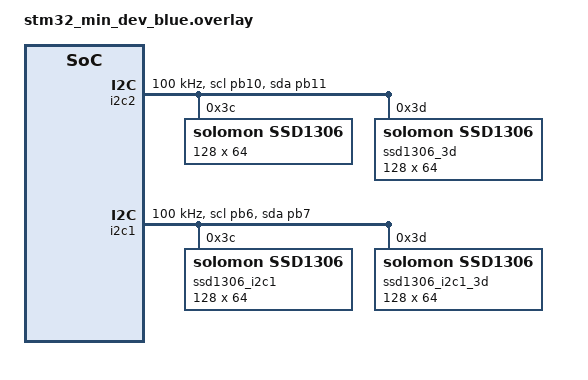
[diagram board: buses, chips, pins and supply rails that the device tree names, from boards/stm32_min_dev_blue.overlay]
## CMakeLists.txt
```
cmake_minimum_required(VERSION 3.20.0)
find_package(Zephyr REQUIRED HINTS $ENV{ZEPHYR_BASE})
project(test_oled)

target_sources(app PRIVATE src/main.c)
```

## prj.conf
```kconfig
# OLED Test Configuration
CONFIG_GPIO=y
CONFIG_I2C=y
CONFIG_PRINTK=y
CONFIG_LOG=y

# Display support - SIMPLE API ONLY
CONFIG_DISPLAY=y
CONFIG_SSD1306=y

# I2C settings
CONFIG_I2C_STM32=y
```

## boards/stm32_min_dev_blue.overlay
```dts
/*
 * OLED Test Overlay - I2C2 pe PB10/PB11
 * SSD1306 128x64 sau 128x32
 */

&i2c2 {
	status = "okay";
	pinctrl-0 = <&i2c2_scl_pb10 &i2c2_sda_pb11>;  /* Config corectă hardware */
	pinctrl-names = "default";
	clock-frequency = <I2C_BITRATE_STANDARD>;  /* 100kHz - mai stabil */
	
	ssd1306: ssd1306@3c {
		compatible = "solomon,ssd1306";
		reg = <0x3c>;  /* Înapoi la 0x3C, dar cu pini inversați */
		width = <128>;
		height = <64>;
		segment-offset = <0>;
		page-offset = <0>;
		display-offset = <0>;
		multiplex-ratio = <63>;
		segment-remap;
		com-invdir;
		prechargep = <0x22>;
	};

	ssd1306_3d: ssd1306@3d {
		compatible = "solomon,ssd1306";
		reg = <0x3d>;
		width = <128>;
		height = <64>;
		segment-offset = <0>;
		page-offset = <0>;
		display-offset = <0>;
		multiplex-ratio = <63>;
		segment-remap;
		com-invdir;
		prechargep = <0x22>;
	};
};

&usart3 {
	status = "disabled";
};

&i2c1 {
	status = "okay";
	pinctrl-0 = <&i2c1_scl_pb6 &i2c1_sda_pb7>;
	pinctrl-names = "default";
	clock-frequency = <I2C_BITRATE_STANDARD>;

	ssd1306_i2c1: ssd1306@3c {
		compatible = "solomon,ssd1306";
		reg = <0x3c>;
		width = <128>;
		height = <64>;
		segment-offset = <0>;
		page-offset = <0>;
		display-offset = <0>;
		multiplex-ratio = <63>;
		segment-remap;
		com-invdir;
		prechargep = <0x22>;
	};

	ssd1306_i2c1_3d: ssd1306@3d {
		compatible = "solomon,ssd1306";
		reg = <0x3d>;
		width = <128>;
		height = <64>;
		segment-offset = <0>;
		page-offset = <0>;
		display-offset = <0>;
		multiplex-ratio = <63>;
		segment-remap;
		com-invdir;
		prechargep = <0x22>;
	};
};
```

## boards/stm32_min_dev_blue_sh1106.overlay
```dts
/*
 * OLED Test Overlay (SH1106 variant) - I2C2 PB10/PB11
 * For 4-pin I2C modules that are 128x64 but not SSD1306-compatible.
 */

&i2c2 {
	status = "okay";
	pinctrl-0 = <&i2c2_scl_pb10 &i2c2_sda_pb11>;
	pinctrl-names = "default";
	clock-frequency = <I2C_BITRATE_STANDARD>;

	ssd1306: sh1106@3c {
		compatible = "sinowealth,sh1106";
		reg = <0x3c>;
		width = <128>;
		height = <64>;
		segment-offset = <0>;
		page-offset = <0>;
		display-offset = <0>;
		multiplex-ratio = <63>;
		segment-remap;
		com-invdir;
		prechargep = <0x22>;
	};

	ssd1306_3d: sh1106@3d {
		compatible = "sinowealth,sh1106";
		reg = <0x3d>;
		width = <128>;
		height = <64>;
		segment-offset = <0>;
		page-offset = <0>;
		display-offset = <0>;
		multiplex-ratio = <63>;
		segment-remap;
		com-invdir;
		prechargep = <0x22>;
	};
};

&usart3 {
	status = "disabled";
};

&i2c1 {
	status = "okay";
	pinctrl-0 = <&i2c1_scl_pb6 &i2c1_sda_pb7>;
	pinctrl-names = "default";
	clock-frequency = <I2C_BITRATE_STANDARD>;

	ssd1306_i2c1: sh1106@3c {
		compatible = "sinowealth,sh1106";
		reg = <0x3c>;
		width = <128>;
		height = <64>;
		segment-offset = <0>;
		page-offset = <0>;
		display-offset = <0>;
		multiplex-ratio = <63>;
		segment-remap;
		com-invdir;
		prechargep = <0x22>;
	};

	ssd1306_i2c1_3d: sh1106@3d {
		compatible = "sinowealth,sh1106";
		reg = <0x3d>;
		width = <128>;
		height = <64>;
		segment-offset = <0>;
		page-offset = <0>;
		display-offset = <0>;
		multiplex-ratio = <63>;
		segment-remap;
		com-invdir;
		prechargep = <0x22>;
	};
};
```

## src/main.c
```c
/*
 * OLED direct I2C test on PB10/PB11 (I2C2).
 * Tries both addresses (0x3C, 0x3D) and both controller init styles (SSD1306/SH1106).
 */
#include <zephyr/kernel.h>
#include <zephyr/drivers/gpio.h>
#include <zephyr/drivers/i2c.h>
#include <zephyr/device.h>
#include <zephyr/sys/printk.h>
#include <string.h>

static const struct gpio_dt_spec led = {
	.port = DEVICE_DT_GET(DT_NODELABEL(gpioc)),
	.pin = 13,
	.dt_flags = GPIO_ACTIVE_LOW
};

static const uint8_t oled_addrs[] = {0x3C, 0x3D};

static void blink_ms(int delay_ms)
{
	gpio_pin_toggle_dt(&led);
	k_msleep(delay_ms);
}

static int oled_cmd(const struct device *i2c, uint8_t addr, uint8_t cmd)
{
	uint8_t tx[2] = {0x00, cmd};
	return i2c_write(i2c, tx, sizeof(tx), addr);
}

static int oled_send_cmds(const struct device *i2c, uint8_t addr,
				  const uint8_t *cmds, size_t len)
{
	for (size_t i = 0; i < len; i++) {
		int ret = oled_cmd(i2c, addr, cmds[i]);
		if (ret) {
			return ret;
		}
	}
	return 0;
}

static int oled_init_ssd1306(const struct device *i2c, uint8_t addr)
{
	static const uint8_t seq[] = {
		0xAE, 0xD5, 0x80, 0xA8, 0x3F, 0xD3, 0x00, 0x40,
		0x8D, 0x14, 0x20, 0x02, 0xA1, 0xC8, 0xDA, 0x12,
		0x81, 0xCF, 0xD9, 0xF1, 0xDB, 0x40, 0xA4, 0xA6, 0xAF,
	};

	return oled_send_cmds(i2c, addr, seq, sizeof(seq));
}

static int oled_init_sh1106(const struct device *i2c, uint8_t addr)
{
	static const uint8_t seq[] = {
		0xAE, 0xD5, 0x80, 0xA8, 0x3F, 0xD3, 0x00, 0x40,
		0xAD, 0x8B, 0xA1, 0xC8, 0xDA, 0x12, 0x81, 0x80,
		0xD9, 0x22, 0xDB, 0x35, 0xA4, 0xA6, 0xAF,
	};

	return oled_send_cmds(i2c, addr, seq, sizeof(seq));
}

static int oled_fill(const struct device *i2c, uint8_t addr,
			   uint8_t pattern, uint8_t col_offset)
{
	uint8_t data[129];
	data[0] = 0x40;
	memset(&data[1], pattern, 128);

	for (uint8_t page = 0; page < 8; page++) {
		int ret;

		ret = oled_cmd(i2c, addr, 0xB0 + page);
		if (ret) {
			return ret;
		}

		ret = oled_cmd(i2c, addr, 0x00 + (col_offset & 0x0F));
		if (ret) {
			return ret;
		}

		ret = oled_cmd(i2c, addr, 0x10 + ((col_offset >> 4) & 0x0F));
		if (ret) {
			return ret;
		}

		ret = i2c_write(i2c, data, sizeof(data), addr);
		if (ret) {
			return ret;
		}
	}

	return 0;
}

static int oled_fill_checker(const struct device *i2c, uint8_t addr, uint8_t col_offset)
{
	uint8_t data[129];
	data[0] = 0x40;

	for (uint8_t page = 0; page < 8; page++) {
		int ret;
		uint8_t p = (page & 1U) ? 0xAA : 0x55;

		memset(&data[1], p, 128);

		ret = oled_cmd(i2c, addr, 0xB0 + page);
		if (ret) {
			return ret;
		}

		ret = oled_cmd(i2c, addr, 0x00 + (col_offset & 0x0F));
		if (ret) {
			return ret;
		}

		ret = oled_cmd(i2c, addr, 0x10 + ((col_offset >> 4) & 0x0F));
		if (ret) {
			return ret;
		}

		ret = i2c_write(i2c, data, sizeof(data), addr);
		if (ret) {
			return ret;
		}
	}

	return 0;
}

static int run_oled_cycle(const struct device *i2c, uint8_t addr, bool sh1106)
{
	uint8_t col_offset = sh1106 ? 2U : 0U;
	int ret;

	ret = oled_fill(i2c, addr, 0xFF, col_offset);
	if (ret) {
		return ret;
	}
	k_msleep(500);

	ret = oled_fill(i2c, addr, 0x00, col_offset);
	if (ret) {
		return ret;
	}
	k_msleep(500);

	ret = oled_fill_checker(i2c, addr, col_offset);
	if (ret) {
		return ret;
	}
	k_msleep(500);

	return 0;
}

int main(void)
{
	const struct device *i2c;
	uint8_t active_addr = 0xFF;
	bool active_sh1106 = false;
	int ret = 0;

	printk("\n=== OLED Direct I2C Test (PB10/PB11) ===\n");

	if (!gpio_is_ready_dt(&led)) {
		return -1;
	}
	gpio_pin_configure_dt(&led, GPIO_OUTPUT_ACTIVE);

	for (int i = 0; i < 4; i++) {
		blink_ms(100);
	}

	i2c = DEVICE_DT_GET(DT_NODELABEL(i2c2));
	if (!device_is_ready(i2c)) {
		printk("ERROR: I2C2 not ready\n");
		while (1) {
			blink_ms(1200);
		}
	}

	printk("I2C2 ready. Probing 0x3C/0x3D...\n");

	for (size_t i = 0; i < ARRAY_SIZE(oled_addrs); i++) {
		uint8_t addr = oled_addrs[i];

		ret = oled_cmd(i2c, addr, 0xAE);
		if (ret) {
			printk("Addr 0x%02X no ACK (%d)\n", addr, ret);
			continue;
		}

		printk("Addr 0x%02X ACK. Trying SSD1306 init...\n", addr);
		ret = oled_init_ssd1306(i2c, addr);
		if (!ret) {
			active_addr = addr;
			active_sh1106 = false;
			break;
		}

		printk("SSD1306 init failed (%d). Trying SH1106 init...\n", ret);
		ret = oled_init_sh1106(i2c, addr);
		if (!ret) {
			active_addr = addr;
			active_sh1106 = true;
			break;
		}

		printk("SH1106 init failed (%d) on 0x%02X\n", ret, addr);
	}

	if (active_addr == 0xFF) {
		printk("ERROR: No OLED ACK/init on 0x3C/0x3D via PB10/PB11\n");
		while (1) {
			blink_ms(1000);
		}
	}

	printk("OLED active at 0x%02X (%s)\n",
	       active_addr, active_sh1106 ? "SH1106-mode" : "SSD1306-mode");

	while (1) {
		ret = run_oled_cycle(i2c, active_addr, active_sh1106);
		if (ret) {
			printk("Write cycle failed (%d)\n", ret);
			blink_ms(900);
		} else {
			blink_ms(120);
		}
	}
}
```
